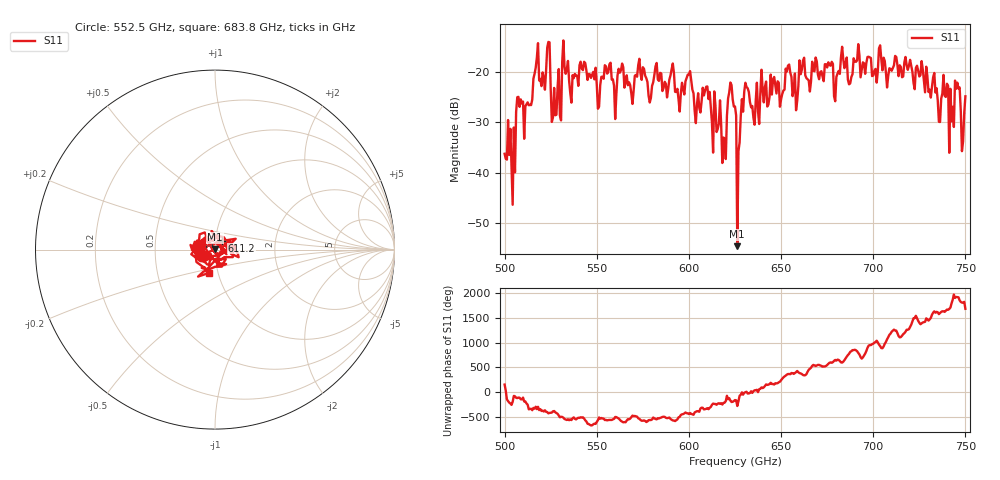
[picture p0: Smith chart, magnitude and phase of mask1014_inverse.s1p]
!Created with skrf (http://scikit-rf.org).
# GHz S MA R 50.0
!freq magS11 angS11
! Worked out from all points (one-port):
!   401 points, 500 GHz to 750 GHz, reference 50 ohm
!   lowest |S11| = -54.6 dB at 626.2 GHz (marker M1), VSWR 1.00, Z = 50 + j0.186 ohm
!   |S11| at or under -10 dB: start of sweep to end of sweep
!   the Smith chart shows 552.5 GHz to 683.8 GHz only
!   S11 on the Smith chart (normalised r, x): 552.5 GHz: 0.85, -0.07; 611.2 GHz: 1.08, +0.11; 683.8 GHz: 0.91, -0.24
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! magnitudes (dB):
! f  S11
! 500 GHz  -36.3
! 504.4 GHz  -46.4
! 507.5 GHz  -25.0
! 511.9 GHz  -26.4
! 516.9 GHz  -19.2
! 523.8 GHz  -14.1
! 526.9 GHz  -23.2
! 531.2 GHz  -18.0
! 552.5 GHz  -21.0
! 562.5 GHz  -20.2
! 590.6 GHz  -19.5
! 593.8 GHz  -23.4
! 600 GHz  -20.5
! 604.4 GHz  -26.4
! 611.2 GHz  -24.0
! 618.8 GHz  -33.0
! 622.5 GHz  -22.1
! 625 GHz  -26.9
! 626.2 GHz  -54.6
! 631.2 GHz  -23.0
! 634.4 GHz  -26.8
! 656.2 GHz  -24.8
! 680 GHz  -21.0
! 683.8 GHz  -17.5
! 687.5 GHz  -22.3
! 718.8 GHz  -19.6
! 742.5 GHz  -29.8
! 750 GHz  -24.8
